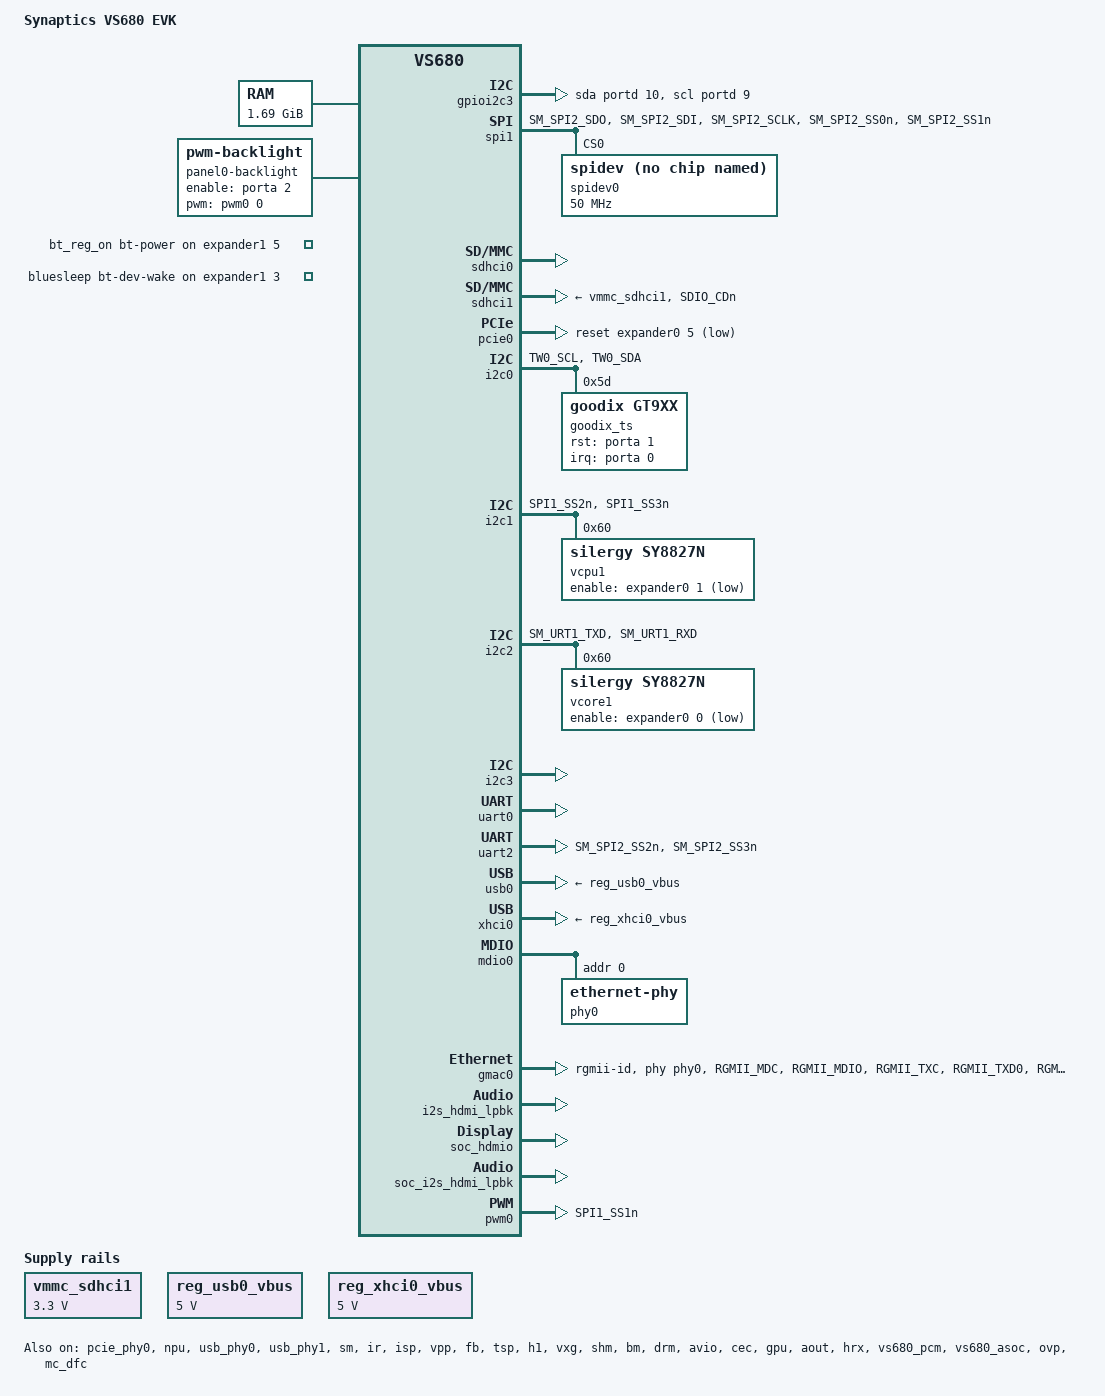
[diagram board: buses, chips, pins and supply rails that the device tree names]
// SPDX-License-Identifier: (GPL-2.0 OR MIT)
/*
 * Copyright (C) 2020 Synaptics Incorporated
 *
 * Author: Jisheng Zhang <jszhang@kernel.org>
 */

/dts-v1/;

/memreserve/ 0x7f000000 0x01000000;

#include <dt-bindings/gpio/gpio.h>

#include "vs680-a0.dtsi"

/ {
	model = "Synaptics VS680 EVK";
	compatible = "syna,vs680-evk", "syna,vs680";

	aliases {
		i2c3 = &i2cdemux3_i2c;
	};
	soc {
		firmware {
            compatible = "berlin,secure-firmware";
        };
	};
	cpus {
		cpu@0 {
			cpu0-supply = <&vcpu>;
		};
	};

	chosen {
		stdout-path = "serial0:115200n8";
	};

	memory {
		device_type = "memory";
		reg = <0 0x04a00000 0 0x6C200000>;
	};

	reserved-memory {
		#address-cells = <2>;
		#size-cells = <2>;
		ranges;

		ramoops@f901c000{
			compatible = "ramoops";
			reg = <0x0 0xf901c000 0x0 0x4000>;
			record-size = <0x4000>;
		};
	};

	panel0-backlight {
		compatible = "pwm-backlight";
		pinctrl-names = "default";
		pinctrl-0 = <&pwm1_pmux>;
		pwms = <&pwm0 0 50000 0>;
		brightness-levels = <
			0 1 2 3 4 5 6 7
			8 9 10 11 12 13 14 15
			16 17 18 19 20 21 22 23
			24 25 26 27 28 29 30 31
			32 33 34 35 36 37 38 39
			40 41 42 43 44 45 46 47
			48 49 50 51 52 53 54 55
			56 57 58 59 60 61 62 63
			64 65 66 67 68 69 70 71
			72 73 74 75 76 77 78 79
			80 81 82 83 84 85 86 87
			88 89 90 91 92 93 94 95
			96 97 98 99 100 101 102 103
			104 105 106 107 108 109 110 111
			112 113 114 115 116 117 118 119
			120 121 122 123 124 125 126 127
			128 129 130 131 132 133 134 135
			136 137 138 139 140 141 142 143
			144 145 146 147 148 149 150 151
			152 153 154 155 156 157 158 159
			160 161 162 163 164 165 166 167
			168 169 170 171 172 173 174 175
			176 177 178 179 180 181 182 183
			184 185 186 187 188 189 190 191
			192 193 194 195 196 197 198 199
			200 201 202 203 204 205 206 207
			208 209 210 211 212 213 214 215
			216 217 218 219 220 221 222 223
			224 225 226 227 228 229 230 231
			232 233 234 235 236 237 238 239
			240 241 242 243 244 245 246 247
			248 249 250 251 252 253 254 255>;
		default-brightness-level = <200>;
		//brightness-levels = <0 4 8 16 32 64 128 255>;
		//default-brightness-level = <6>;
		enable-gpio = <&porta 2 GPIO_ACTIVE_HIGH>;
		status = "okay";
	};

	ion {
		compatible = "syna,ion-berlin-heaps";
		pool-num = <2>;
		reg-names = "Secure","NonSecure-NC";
		reg = <0 0x71400000 0 0x0ec00000>,
		      <0 0x70C00000 0 0x00800000>;
		attributes-num-per-pool = <2>;
		pool-attributes = <0x00000005 0x00000f3d 0x00000005 0x00000f3a>;
	};

	regulators {
		compatible = "simple-bus";
		#address-cells = <1>;
		#size-cells = <0>;

		vmmc_sdhci1: vmmc_sdhci1 {
			compatible = "regulator-fixed";
			regulator-min-microvolt = <3300000>;
			regulator-max-microvolt = <3300000>;
			regulator-name = "vmmc_sdio";
			enable-active-high;
		//	gpio = <&expander3 1 GPIO_ACTIVE_HIGH>;
		};

		reg_usb0_vbus: usb0_vbus {
			compatible = "regulator-fixed";
			regulator-name = "usb0_vbus";
			regulator-min-microvolt = <5000000>;
			regulator-max-microvolt = <5000000>;
		//	gpio = <&expander2 3 GPIO_ACTIVE_HIGH>;
			enable-active-high;
		};

		reg_xhci0_vbus: xhci0_vbus {
			compatible = "regulator-fixed";
			regulator-name = "xhci0_vbus";
			regulator-min-microvolt = <5000000>;
			regulator-max-microvolt = <5000000>;
		//	gpio = <&expander2 2 GPIO_ACTIVE_HIGH>;
			enable-active-high;
		};
	};

	dummy_label {
		dummy1 = <&vcpu1>;
		dummy2 = <&vcore1>;
	};

	bt_reg_on: bt_reg_on {
		compatible = "syna,rfkill";
		bt-power-gpio = <&expander1 5 GPIO_ACTIVE_HIGH>;
	};

	bluesleep: bluesleep {
		compatible = "syna,bluesleep";
		bt-dev-wake-gpio = <&expander1 3 GPIO_ACTIVE_HIGH>;
	};

	gpioi2c3: gpioi2c3 {
		#address-cells = <1>;
		#size-cells = <0>;
		compatible = "i2c-gpio";
		gpios = <&portd 10 GPIO_ACTIVE_HIGH /* sda */
			 &portd 9 GPIO_ACTIVE_HIGH /* scl */
			>;
		i2c-gpio,delay-us = <5>;
	};

	i2cdemux3 {
		compatible = "i2c-dyndmx-pinctrl";
		#address-cells = <1>;
		#size-cells = <0>;

		i2c-parent = <&i2c3>, <&gpioi2c3>;

		pinctrl-names = "i2c3", "gpioi2c3";
		pinctrl-0 = <&i2c3_pmux>;
		pinctrl-1 = <&gpioi2c3_pmux>;

		i2cdemux3_i2c: i2c@0 {
			reg = <0>;
			#address-cells = <1>;
			#size-cells = <0>;

			expander0: gpio@43 {
				compatible = "fcs,fxl6408";
				reg = <0x43>;
				gpio-controller;
				#gpio-cells = <2>;
			};

			expander1: gpio@44 {
				compatible = "fcs,fxl6408";
				reg = <0x44>;
				gpio-controller;
				#gpio-cells = <2>;
			};
/*
			rtc0: rtc@68 {
				compatible = "dallas,ds1339";
				wakeup-source;
				reg = <0x68>;
			};
			*/
		};

		i2c@1 {
			reg = <1>;
			#address-cells = <1>;
			#size-cells = <0>;
		};
	};
};

&pinctrl {
	gmac0_pmux: gmac0-pmux {
		groups = "RGMII_MDC", "RGMII_MDIO", "RGMII_TXC", "RGMII_TXD0", "RGMII_TXD1", "RGMII_TXD2", "RGMII_TXD3", "RGMII_TXCTL", "RGMII_RXC", "RGMII_RXD0", "RGMII_RXD1", "RGMII_RXD2", "RGMII_RXD3", "RGMII_RXCTL";
		function = "rgmii";
		drive-strength = <3>;
	};
/*
	spi1_pmux: spi1-pmux {
		groups = "SPI1_SCLK", "SPI1_SDI", "SPI1_SDO", "SPI1_SS0n";
		function = "spi1";
		drive-strength = <3>;
	};
*/
	i2c0_pmux: i2c0-pmux {
		groups = "TW0_SCL", "TW0_SDA";
		function = "tw0";
		drive-strength = <7>;
	};

	i2c1_pmux: i2c1-pmux {
		groups = "SPI1_SS2n", "SPI1_SS3n";
		function = "tw1b";
		drive-strength = <3>;
	};

	sdhci1_pmux: sdhci1-pmux {
		groups = "SDIO_CDn";
		function = "sdio";
		drive-strength = <7>;
	};

	expander3_pmux: expander3-pmux {
		groups = "USB2_DRV_VBUS";
		function = "gpio";
	};

	pwm1_pmux: pwm1-pmux {
		groups = "STS1_CLK";
		function = "pwm";
	};

	pwm_pin7: pwm-pin7 {
		groups = "SPI1_SS1n";
		function = "pwm";
	};

};

&sm_pinctrl {
	i2c2_pmux: i2c2-pmux {
		groups = "SM_URT1_TXD", "SM_URT1_RXD";
		function = "tw2b";
		drive-strength = <7>;
	};

	i2c3_pmux: i2c3-pmux {
		groups = "SM_TW3_SCL", "SM_TW3_SDA";
		function = "tw3";
		drive-strength = <7>;
	};

	spi2_pmux: spi2-pmux {
		//pin19 21 23 24 26
		groups = "SM_SPI2_SDO", "SM_SPI2_SDI", "SM_SPI2_SCLK", "SM_SPI2_SS0n", "SM_SPI2_SS1n";
		function = "spi2";
		drive-strength = <7>;
	};

	uart2_pmux: uart2-pmux {
		//pin8 10
		groups = "SM_SPI2_SS2n", "SM_SPI2_SS3n";
		function = "uart2";
	};

	gpioi2c3_pmux: gpioi2c3-pmux {
		groups = "SM_TW3_SCL", "SM_TW3_SDA";
		function = "gpio";
		drive-strength = <7>;
	};

	hrx5v_pmux: hrx5v-pmux {
		groups = "SM_HDMIRX_PWR5V";
		function = "gpio";
		drive-strength = <7>;
	};
};

&avio_pinctrl {
/*
	i2s1_pmux: i2s1-pmux {
		//pin20 35 40
		groups = "I2S1_BCLKIO", "I2S1_LRCKIO", "I2S1_DO0", "I2S1_MCLK";
		function = "i2s1";
	};
*/
/*
	i2s3_pmux: i2s3-pmux {
		groups = "I2S3_LRCKIO", "I2S3_BCLKIO", "I2S3_DI";
		function = "i2s3";
	};
*/

/*
	spdifi_pmux: spdifi-pmux {
		groups = "SPDIFI";
		function = "spdifi";
	};

	spdifo_pmux: spdifo-pmux {
		groups = "SPDIFO";
		function = "spdifo";
	};
*/
};

&spi1 {
	status = "okay";
	pinctrl-0 = <&spi2_pmux>;
	pinctrl-names = "default";
	num-cs = <1>;

	spidev0: spidev@0 {
		compatible = "linux,spidev";
		reg = <0>;
		spi-max-frequency = <50000000>;
	};
};

&sdhci0 {
	status = "okay";
	sdclkdl-dc = /bits/ 8 <26>;
	mmc-ddr-1_8v;
	mmc-hs200-1_8v;
	mmc-hs400-1_8v;
	//mmc-hs400-enhanced-strobe;
	dll-calibration;
	pad-sp = /bits/ 8 <12>;
	pad-sn = /bits/ 8 <12>;
};

&sdhci1 {
	status = "okay";
	pinctrl-0 = <&sdhci1_pmux>;
	pinctrl-names = "default";
	no-sdio;
	no-mmc;
	no-removable;  //SD not detected
	disable-wp;
	sdclkdl-dc = /bits/ 8 <75>;
	pad-sp = /bits/ 8 <12>;
	pad-sn = /bits/ 8 <12>;
	vmmc-supply = <&vmmc_sdhci1>;
};

&pcie_phy0 {
	status = "okay";
};

&pcie0 {
	status = "okay";
	reset-gpios = <&expander0 5 GPIO_ACTIVE_LOW>;
};

&i2c0 {
	status = "okay";
	pinctrl-names = "default";
	pinctrl-0 = <&i2c0_pmux>;
	no-irq-suspend;

	goodix_ts@5d {
	status = "okay";
	compatible = "goodix,gt9xx";
	reg = <0x5d>;
	interrupt-parent = <&porta>;
	interrupts = <0 0>;
	goodix,rst-gpio = <&porta 1 GPIO_ACTIVE_HIGH>;
	goodix,irq-gpio = <&porta 0 GPIO_ACTIVE_HIGH>;
	goodix,cfg-group0 = [
		48 D0 02 00 05 05 75 01 01 0F 24
		0F 64 3C 03 05 00 00 00 02 00 00
		00 16 19 1C 14 8C 0E 0E 24 00 31
		0D 00 00 00 83 33 1D 00 41 00 00
		3C 0A 14 08 0A 00 2B 1C 3C 94 D5
		03 08 00 00 04 93 1E 00 82 23 00
		74 29 00 69 2F 00 5F 37 00 5F 20
		40 60 00 F0 40 30 55 50 27 00 00
		00 00 00 00 00 00 00 00 00 00 00
		00 00 00 00 00 00 00 14 19 00 00
		50 50 02 04 06 08 0A 0C 0E 10 12
		14 16 18 1A 1C 00 00 00 00 00 00
		00 00 00 00 00 00 00 00 00 00 1D
		1E 1F 20 21 22 24 26 28 29 2A 1C
		18 16 14 13 12 10 0F 0C 0A 08 06
		04 02 00 00 00 00 00 00 00 00 00
		00 00 00 00 00 00 00 00 3C 01];
	goodix,cfg-group2 = [
		48 D0 02 00 05 05 75 01 01 0F 24
		0F 64 3C 03 05 00 00 00 02 00 00
		00 16 19 1C 14 8C 0E 0E 24 00 31
		0D 00 00 00 83 33 1D 00 41 00 00
		3C 0A 14 08 0A 00 2B 1C 3C 94 D5
		03 08 00 00 04 93 1E 00 82 23 00
		74 29 00 69 2F 00 5F 37 00 5F 20
		40 60 00 F0 40 30 55 50 27 00 00
		00 00 00 00 00 00 00 00 00 00 00
		00 00 00 00 00 00 00 14 19 00 00
		50 50 02 04 06 08 0A 0C 0E 10 12
		14 16 18 1A 1C 00 00 00 00 00 00
		00 00 00 00 00 00 00 00 00 00 1D
		1E 1F 20 21 22 24 26 28 29 2A 1C
		18 16 14 13 12 10 0F 0C 0A 08 06
		04 02 00 00 00 00 00 00 00 00 00
		00 00 00 00 00 00 00 00 3C 01];
	};
};

&i2c1 {
	status = "okay";
	pinctrl-names = "default";
	pinctrl-0 = <&i2c1_pmux>;

	vcpu: regulator@62 {
		status = "disabled";
		compatible = "mps,mp8867";
		regulator-name = "vcpu";
		regulator-min-microvolt = <700000>;
		regulator-max-microvolt = <980000>;
		regulator-always-on;
		regulator-boot-on;
		enable-gpios = <&expander0 1 GPIO_ACTIVE_LOW>;
		mps,fb-voltage-divider = <80 240>;
		regulator-active-discharge = <0>;
		mps,switch-frequency-hz = <1500000>;
		mps,vsel-step = <1>;
		reg = <0x62>;
	};

	vcpu1: regulator1@60 {
		status = "okay";
		compatible = "silergy,sy8827n";
		regulator-name = "vcpu";
		regulator-min-microvolt = <700000>;
		regulator-max-microvolt = <987500>;
		regulator-always-on;
		regulator-boot-on;
		regulator-active-discharge = <0>;
		enable-gpios = <&expander0 1 GPIO_ACTIVE_LOW>;
		silergy,vsel-step = <1>;
		reg = <0x60>;
	};
};

&i2c2 {
	status = "okay";
	pinctrl-names = "default";
	pinctrl-0 = <&i2c2_pmux>;

	vcore: regulator@60 {
		status = "disabled";
		compatible = "mps,mp8869";
		regulator-name = "vcore";
		regulator-min-microvolt = <700000>;
		regulator-max-microvolt = <900000>;
		regulator-always-on;
		regulator-boot-on;
		enable-gpios = <&expander0 0 GPIO_ACTIVE_LOW>;
		mps,fb-voltage-divider = <80 240>;
		regulator-active-discharge = <0>;
		mps,switch-frequency-hz = <1250000>;
		mps,vsel-step = <1>;
		regulator-ramp-delay = <40000>;
		reg = <0x60>;
	};

	vcore1: regulator1@60 {
		status = "okay";
		compatible = "silergy,sy8827n";
		regulator-name = "vcore";
		regulator-min-microvolt = <700000>;
		regulator-max-microvolt = <937500>;
		regulator-always-on;
		regulator-boot-on;
		regulator-active-discharge = <0>;
		enable-gpios = <&expander0 0 GPIO_ACTIVE_LOW>;
		silergy,vsel-step = <1>;
		reg = <0x60>;
	};
};

&i2c3 {
	status = "okay";
	no-irq-suspend;
};

&uart0 {
	status = "okay";
};

&uart2 {
	status = "okay";
	pinctrl-0 = <&uart2_pmux>;
	pinctrl-names = "default";
};

&npu {
	status = "okay";
};

&usb0 {
	vbus-supply = <&reg_usb0_vbus>;
	status = "okay";
};

&usb_phy0  {
	status = "okay";
};

&xhci0 {
	vbus-supply = <&reg_xhci0_vbus>;
	status = "okay";
};

&usb_phy1  {
	status = "okay";
};

&mdio0 {
	phy0: ethernet-phy@0 {
		reg = <0>;
	};
};

&gmac0 {
	status = "okay";
	pinctrl-0 = <&gmac0_pmux>;
	pinctrl-names = "default";
	phy-handle = <&phy0>;
	phy-mode = "rgmii-id";
	snps,reset-gpio = <&expander1 0 GPIO_ACTIVE_LOW>;
	snps,reset-delays-us = <0 10000 50000>;
};

&sm {
	status = "okay";
};

&ir {
	status = "okay";
};

&isp {
	status = "okay";
	/* enable-gpios = <&expander1 7 GPIO_ACTIVE_HIGH>; */
	/* rcamvdd33-gpio = <&porta 11 GPIO_ACTIVE_HIGH>; */
	rcamrst-gpio = <&porta 8 GPIO_ACTIVE_HIGH>;
	i2c-bus = <&i2c3>;
	dev-addr = <112>;
};

&vpp {
	status = "okay";
};

&fb {
	status = "okay";
};

&tsp {
	status = "okay";
};

&h1 {
	status = "okay";
};

&vxg {
	status = "okay";
};

&shm {
	status = "okay";
};

&bm {
	status = "okay";
};

&drm {
	status = "okay";
};

&avio {
	status = "okay";
	vpp {
		hdtx5v-gpio = <&portd 16 GPIO_ACTIVE_HIGH>;
		//mipirst-gpio = <&expander3 5 GPIO_ACTIVE_LOW>;
	};
};

&cec {
	status = "okay";
};

&axi_mc0 {
	status = "okay";
};

&gpu {
	status = "okay";
};

&aout {
	status = "okay";
};

&hrx {
	status = "okay";
	pinctrl-0 = <&hrx5v_pmux>;
	pinctrl-names = "default";
	//hrxhpd-gpio = <&expander1 4 GPIO_ACTIVE_HIGH>;
	hrxhpd-gpio = <&portb 23 GPIO_ACTIVE_HIGH>;  //gpio55
	hrx5v-gpio = <&portd 21 GPIO_ACTIVE_HIGH>;
};

&i2s_pri {
	status = "disabled";
	//pinctrl-0 = <&i2s1_pmux>, <&spdifo_pmux>;
	pinctrl-names = "default";
};

&spdif_out {
	status = "disabled";
	//pinctrl-0 = <&spdifo_pmux>;
	pinctrl-names = "default";
};

&i2s_mic1 {
	status = "disabled";
	intlmode;
};

&dmic {
	status = "disabled";
	pdm-type = <1>;
	pdm-clk-sel = <2>;
};

&i2s_mic2 {
	status = "disabled";
	//pinctrl-0 = <&i2s3_pmux>;
	pinctrl-names = "default";
	slave;
	invertbclk;
};

&i2s_mic6 {
	status = "disabled";
};

&i2s_pri_lpbk {
	status = "disabled";
};

&i2s_hdmi_lpbk {
	status = "okay";
};

&hdmi_out {
    status = "okay";
};

&vs680_spdifi {
	status = "disabled";
	//pinctrl-0 = <&spdifi_pmux>;
	pinctrl-names = "default";
	//gate-gpio = <&expander2 4 GPIO_ACTIVE_HIGH>;
	//enable-gpio = <&expander3 7 GPIO_ACTIVE_LOW>;
	dynamic-src-ctrl;
};

&vs680_pcm {
	status = "okay";
};

&vs680_asoc {
	status = "okay";

	soc_i2so1: soc-i2so1 {
		status = "disabled";
		stream-name = "soc-i2so1";
		link-name = "soc-i2so1";
		format = "i2s";
		continuous-clock;
		bitclock-inversion;
		frame-inversion;
		bitclock-master;
		frame-master;
		cpu-node = <&i2s_pri>;
		//codec-name = "cx9000.0-0033";
		//codec-dai-name = "cx9000-amplifier";
		platform-node = <&vs680_pcm>;
	};

	soc_spdifo: soc-spdifo {
		status = "disabled";
		stream-name = "soc-spdifo";
		link-name = "soc-spdifo";
		format = "dsp_a";
		cpu-node = <&spdif_out>;
		codec-name = "snd-soc-dummy";
		codec-dai-name = "snd-soc-dummy-dai";
		platform-node = <&vs680_pcm>;
	};

	soc_dmic: soc-dmic {
		status = "disabled";
		stream-name = "soc-dmic";
		link-name = "soc-dmic";
		cpu-node = <&dmic>;
		codec-name = "snd-soc-dummy";
		codec-dai-name = "snd-soc-dummy-dai";
		platform-node = <&vs680_pcm>;
	};

	soc_i2si: soc-i2si {
		status = "disabled";
		stream-name = "soc-i2si";
		link-name = "soc-i2si";
		format = "i2s";
		cpu-node = <&i2s_mic1>;
		codec-name = "snd-soc-dummy";
		codec-dai-name = "snd-soc-dummy-dai";
		platform-node = <&vs680_pcm>;
	};

	soc_i2si3: soc-i2si3 {
		status = "disabled";
		stream-name = "soc-i2si3";
		link-name = "soc-i2si3";
		format = "i2s";
		cpu-node = <&i2s_mic2>;
		codec-name = "snd-soc-dummy";
		codec-dai-name = "snd-soc-dummy-dai";
		platform-node = <&vs680_pcm>;
	};

	soc_i2s_pri_lpbk: soc-i2s-pri-lpbk {
		status = "disabled";
		stream-name = "soc-i2s-pri-lpbk";
		link-name = "soc-i2s-pri-lpbk";
		format = "i2s";
		cpu-node = <&i2s_pri_lpbk>;
		codec-name = "snd-soc-dummy";
		codec-dai-name = "snd-soc-dummy-dai";
		platform-node = <&vs680_pcm>;
	};

	soc_hdmio: soc-hdmio {
        status = "okay";
        stream-name = "soc-hdmio";
        link-name = "soc-hdmio";
        format = "i2s";
        cpu-node = <&hdmi_out>;
        codec-name = "snd-soc-dummy";
        codec-dai-name = "snd-soc-dummy-dai";
        platform-node = <&vs680_pcm>;
   };

	soc_i2s_hdmi_lpbk: soc-i2s-hdmi-lpbk {
		status = "okay";
		stream-name = "soc-i2s-hdmi-lpbk";
		link-name = "soc-i2s-hdmi-lpbk";
		format = "i2s";
		cpu-node = <&i2s_hdmi_lpbk>;
		codec-name = "snd-soc-dummy";
		codec-dai-name = "snd-soc-dummy-dai";
		platform-node = <&vs680_pcm>;
	};

	soc_spdifi: soc-spdifi {
		status = "disabled";
		stream-name = "soc-spdifi";
		link-name = "soc-spdifi";
		cpu-node = <&vs680_spdifi>;
		codec-name = "snd-soc-dummy";
		codec-dai-name = "snd-soc-dummy-dai";
		platform-node = <&vs680_pcm>;
	};

	soc_i2s_earc: soc-i2s-earc {
		status = "disabled";
		stream-name = "soc-i2s-earc";
		link-name = "soc-i2s-earc";
		format = "i2s";
		bitclock-master;
		frame-master;
		cpu-node = <&i2s_mic6>;
		codec-name = "snd-soc-dummy";
		codec-dai-name = "snd-soc-dummy-dai";
		platform-node = <&vs680_pcm>;
	};
};

&ovp {
	status = "okay";
};

&pwm0 {
	status = "okay";
	pinctrl-names = "default";
	pinctrl-0 = <&pwm_pin7>;
};

&mc_dfc {
	status = "okay";
};
